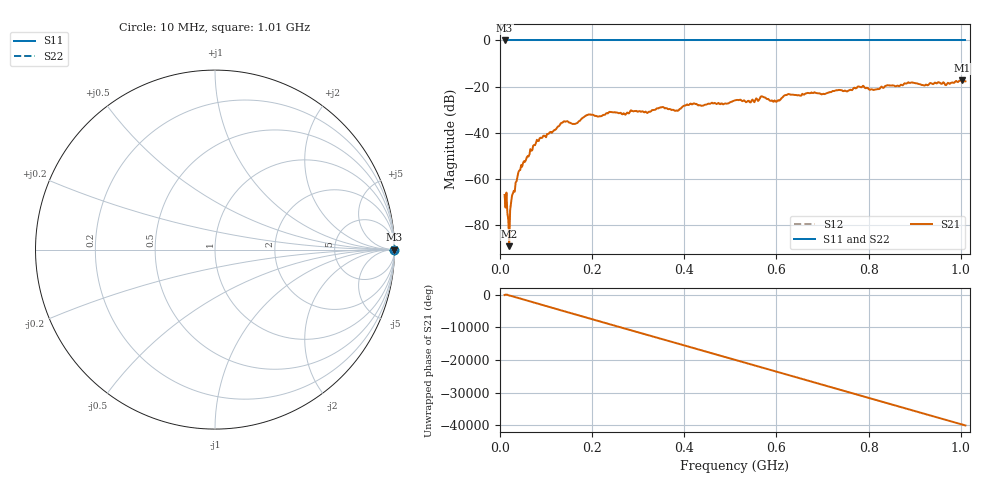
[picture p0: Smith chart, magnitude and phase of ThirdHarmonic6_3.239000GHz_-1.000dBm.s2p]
! 8/17/2025 9:56:20 AM
! C:\ANRITSUVNA\TEMP\TEMP.S2P
! CHANNEL.1
! TR.MEASUREMENT
! RAW.DATA
! RF.CORRECTION.OFF
! AVERAGING.OFF
! IF.BANDWIDTH: 5KHZ
! SWEEPTYPE:  FREQ.SWEEP(Linear)
! Reference Plane Port Info
! PORT:  PORT1  PORT2
! DISTANCE:  0  m  0  m
! TIME:  0  s  0  s
! PHASE.OFFSET:  0  deg.  0  deg.
! LOSS:  0  dB  0  dB
! REF.LOSS:  0  dB  0  dB
! REF.FREQ:  0  Hz  0  Hz
! Power Info
! POWER:  -20  dBm  -20  dBm
! EFF.POWER:  -20  dBm  -20  dBm
! SOURCE.ATTEN:  0  dB  0  dB
! TEST.ATTEN:  0  dB  0  dB
# GHZ S RI R 50.0
! FREQ.GHZ  S11RE  S11IM  S21RE  S21IM  S12RE  S12IM  S22RE  S22IM
!; PortSelection: Port_12
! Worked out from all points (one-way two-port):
!   501 points, 10 MHz to 1.01 GHz, reference 50 ohm
!   highest |S21| = -17.30 dB at 1.002 GHz (marker M1); lowest = -89.3 dB at 20 MHz (marker M2)
!   lowest |S11| = 0.0 dB at 10 MHz (marker M3)
!   |S11| at or under -10 dB: nowhere
!   |S22| runs from 0.0 to 0.0 dB; largest |S21 - S12| = 1.1
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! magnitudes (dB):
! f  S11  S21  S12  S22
! 10 MHz  0.0  -67.1  0.0  0.0
! 16 MHz  0.0  -74.9  0.0  0.0
! 20 MHz  0.0  -89.3  0.0  0.0
! 26 MHz  0.0  -67.4  0.0  0.0
! 42 MHz  0.0  -56.4  0.0  0.0
! 76 MHz  0.0  -45.5  0.0  0.0
! 136 MHz  0.0  -35.6  0.0  0.0
! 162 MHz  0.0  -36.3  0.0  0.0
! 178 MHz  0.0  -33.8  0.0  0.0
! 192 MHz  0.0  -32.1  0.0  0.0
! 344 MHz  0.0  -29.5  0.0  0.0
! 384 MHz  0.0  -30.5  0.0  0.0
! 416 MHz  0.0  -27.7  0.0  0.0
! 510 MHz  0.0  -26.0  0.0  0.0
! 548 MHz  0.0  -25.6  0.0  0.0
! 570 MHz  0.0  -24.4  0.0  0.0
! 598 MHz  0.0  -26.4  0.0  0.0
! 624 MHz  0.0  -23.4  0.0  0.0
! 678 MHz  0.0  -22.8  0.0  0.0
! 844 MHz  0.0  -19.5  0.0  0.0
! 1.002 GHz  0.0  -17.3  0.0  0.0
! 1.01 GHz  0.0  -17.7  0.0  0.0
